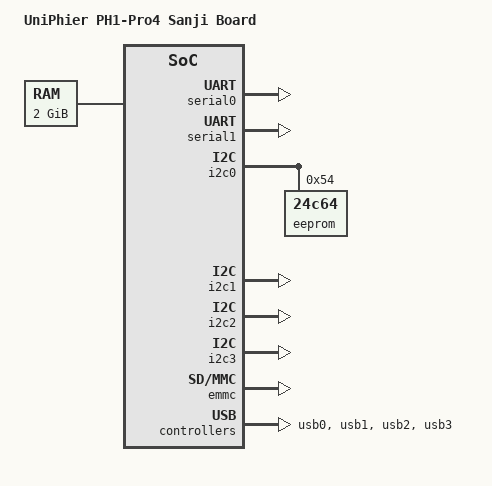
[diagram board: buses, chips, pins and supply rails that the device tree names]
/*
 * Device Tree Source for UniPhier PH1-Pro4 Sanji Board
 *
 * Copyright (C) 2016 Masahiro Yamada <yamada.masahiro@socionext.com>
 *
 * SPDX-License-Identifier:	GPL-2.0+	X11
 */

/dts-v1/;
/include/ "uniphier-ph1-pro4.dtsi"

/ {
	model = "UniPhier PH1-Pro4 Sanji Board";
	compatible = "socionext,ph1-pro4-sanji", "socionext,ph1-pro4";

	memory {
		device_type = "memory";
		reg = <0x80000000 0x80000000>;
	};

	chosen {
		stdout-path = "serial0:115200n8";
	};

	aliases {
		serial0 = &serial0;
		serial1 = &serial1;
		i2c0 = &i2c0;
		i2c1 = &i2c1;
		i2c2 = &i2c2;
		i2c3 = &i2c3;
		i2c5 = &i2c5;
		i2c6 = &i2c6;
	};
};

&serial0 {
	status = "okay";
};

&serial1 {
	status = "okay";
};

&i2c0 {
	status = "okay";

	eeprom {
		compatible = "24c64", "i2c-eeprom";
		reg = <0x54>;
		u-boot,i2c-offset-len = <2>;
	};
};

&i2c1 {
	status = "okay";
};

&i2c2 {
	status = "okay";
};

&i2c3 {
	status = "okay";
};

&emmc {
	status = "okay";
};

&usb0 {
	status = "okay";
};

&usb1 {
	status = "okay";
};

&usb2 {
	status = "okay";
};

&usb3 {
	status = "okay";
};

/* for U-Boot only */
&serial0 {
	u-boot,dm-pre-reloc;
};

&mio {
	u-boot,dm-pre-reloc;
};

&emmc {
	u-boot,dm-pre-reloc;
};

&pinctrl_uart0 {
	u-boot,dm-pre-reloc;
};

&pinctrl_emmc {
	u-boot,dm-pre-reloc;
};
